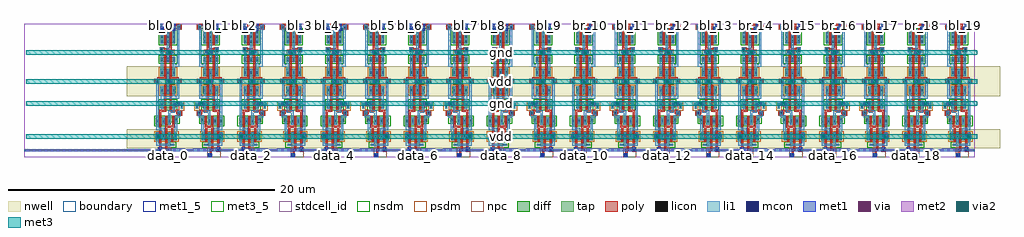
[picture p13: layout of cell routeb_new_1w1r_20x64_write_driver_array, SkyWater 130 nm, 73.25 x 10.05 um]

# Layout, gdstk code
from math import pi, radians
import gdstk
lib = gdstk.Library(unit=1e-6, precision=1e-09)
def R(c, l, rs):  # rectangles x0, y0, x1, y1
    for r in rs: c.add(gdstk.rectangle(r[:2], r[2:], *l))
def A(c, l, x, y, w, h, nx, ny, dx, dy):  # array of equal rectangles
    R(c, l, [(x+i*dx, y+j*dy, x+i*dx+w, y+j*dy+h) for i in range(nx) for j in range(ny)])
nwell = (64, 20)
diff = (65, 20)
tap = (65, 44)
poly = (66, 20)
licon = (66, 44)
li1 = (67, 20)
mcon = (67, 44)
met1_5 = (68, 5)
met1 = (68, 20)
via = (68, 44)
met2 = (69, 20)
via2 = (69, 44)
met3_5 = (70, 5)
met3 = (70, 20)
stdcell_id = (81, 4)
nsdm = (93, 44)
psdm = (94, 20)
npc = (95, 20)
boundary = (235, 4)

sky130_fd_bd_sram__openr = lib.new_cell('sky130_fd_bd_sram__openram_write_driver')
R(sky130_fd_bd_sram__openr, nwell, [(-1.88,0.69,4.4,2.12), (-1.88,4.6,4.4,6.83)])
R(sky130_fd_bd_sram__openr, diff, [(0.305,1.31,1.88,1.86), (0.305,2.46,1.435,2.65), (0.305,2.65,1.955,3.01), (0.645,3.68,1.795,4.23), (0.645,4.78,1.78,5.33), (0.645,6.095,1.775,6.645), (0.645,7.175,1.775,7.535), (0.645,8.565,1.775,9.565)])
R(sky130_fd_bd_sram__openr, tap, [(1.245,0.87,1.705,1.04), (2.155,3.64,2.325,4.1), (1.125,5.62,1.605,5.79), (1.145,7.805,1.605,7.975)])
R(sky130_fd_bd_sram__openr, poly, [(1.115,0.02,1.425,0.32), (1.115,0.32,1.275,0.5), (0.505,0.42,0.775,0.74), (1.015,0.5,1.275,0.65), (1.015,0.65,1.165,2.23), (0.505,0.74,0.725,0.75), (0.575,0.75,0.725,3.45), (1.455,1.18,1.605,2.23), (1.015,2.23,1.665,2.38), (1.015,2.38,1.165,3.14), (1.515,2.38,1.665,3.14), (1.875,3.18,2.245,3.3), (1.825,3.3,2.245,3.45), (0.575,3.45,1.065,3.6), (1.355,3.45,1.995,3.6), (0.915,3.6,1.065,5.46), (1.355,3.6,1.505,5.46), (0.205,5.6,0.54,5.87), (1.885,5.6,2.215,5.72), (1.88,5.72,2.215,5.87), (0.39,5.87,1.065,6.02), (1.355,5.87,2.03,6.02), (0.915,6.02,1.065,7.665), (1.355,6.02,1.505,7.665), (0.605,7.925,0.935,8.055), (0.605,8.055,1.505,8.205), (1.355,8.205,1.505,9.695), (0.915,8.435,1.065,9.905), (1.895,9.645,2.225,9.905), (0.915,9.905,2.225,9.915), (0.915,9.915,2.045,10.055)])
A(sky130_fd_bd_sram__openr, licon, 0.345, 1.5, 0.17, 0.17, 4, 1, 0.44, 0)
A(sky130_fd_bd_sram__openr, licon, 0.345, 2.65, 0.17, 0.17, 3, 1, 0.44, 0)
A(sky130_fd_bd_sram__openr, licon, 0.685, 4.97, 0.17, 0.17, 3, 2, 0.44, 1.315)
A(sky130_fd_bd_sram__openr, licon, 0.685, 7.275, 0.17, 0.17, 3, 2, 0.44, 1.365)
A(sky130_fd_bd_sram__openr, licon, 0.685, 8.98, 0.17, 0.17, 3, 2, 0.44, 0.34)
R(sky130_fd_bd_sram__openr, licon, [(1.175,0.1,1.345,0.27), (0.555,0.5,0.725,0.67), (1.395,0.87,1.565,1.04), (1.725,2.745,1.895,2.915), (1.995,3.23,2.165,3.4), (2.155,3.78,2.325,3.95), (0.685,3.87,0.855,4.04), (1.565,3.87,1.735,4.04), (1.295,5.62,1.465,5.79), (0.285,5.65,0.455,5.82), (1.965,5.65,2.135,5.82), (1.295,7.805,1.465,7.975), (0.685,7.985,0.855,8.155), (1.975,9.695,2.145,9.865)])
R(sky130_fd_bd_sram__openr, li1, [(1.095,0.1,1.425,0.27), (0.47,0.5,0.805,0.67), (1.225,0.84,1.395,0.87), (0.345,0.87,1.645,1.04), (0.345,1.04,0.515,1.88), (1.225,1.04,1.395,1.88), (0.785,1.29,0.955,2.05), (1.665,1.29,1.835,1.95), (1.665,1.95,1.895,2.12), (0.345,2.05,0.955,2.22), (1.725,2.12,1.895,2.89), (0.345,2.22,0.515,5.57), (0.785,2.44,0.955,3.03), (1.225,2.44,1.395,3.4), (1.725,2.89,1.955,2.99), (1.725,2.99,2.105,3.11), (1.725,3.11,2.165,3.16), (1.935,3.16,2.165,3.49), (1.225,3.375,1.735,3.545), (1.565,3.4,1.735,3.95), (0.685,3.65,0.855,4.42), (2.155,3.7,2.325,3.95), (1.565,3.95,2.355,4.12), (1.565,4.12,1.735,4.25), (0.685,4.42,2.075,4.59), (0.685,4.59,0.855,5.35), (1.565,4.59,1.735,5.35), (1.905,4.59,2.075,5.57), (1.125,4.76,1.295,5.62), (0.285,5.57,0.515,5.9), (1.905,5.57,2.135,5.9), (1.125,5.62,1.545,5.79), (1.125,5.79,1.295,6.665), (0.685,6.08,0.855,7.9), (1.565,6.08,1.735,6.825), (1.565,6.825,2.075,6.995), (1.565,6.995,1.735,7.565), (1.905,6.995,2.075,9.615), (1.125,7.165,1.295,7.805), (1.125,7.805,1.545,7.975), (0.585,7.9,0.855,8.235), (1.125,7.975,1.295,9.635), (0.685,8.545,0.855,9.735), (1.565,8.545,1.735,9.735), (1.905,9.615,2.145,9.945)])
R(sky130_fd_bd_sram__openr, mcon, [(1.175,0.1,1.345,0.27), (0.555,0.5,0.725,0.67), (0.345,1.5,0.515,1.67), (1.8,3.95,1.97,4.12), (1.125,5.62,1.295,5.79), (1.125,7.805,1.295,7.975), (0.685,9.565,0.855,9.735), (1.565,9.565,1.735,9.735)])
R(sky130_fd_bd_sram__openr, met1_5, [(1.115,0.02,1.415,0.3), (0.495,0.47,2.5,0.64), (0.285,1.47,0.715,1.7), (1.67,3.945,2.1,4.15), (1.065,5.59,1.495,5.82), (1.065,7.805,1.605,7.975), (0.63,9.795,0.78,10.055), (1.64,9.795,1.79,10.055)])
R(sky130_fd_bd_sram__openr, met1, [(1.115,0.02,1.415,0.3), (1.115,0.02,1.415,0.3), (0.495,0.47,2.5,0.64), (0.495,0.47,2.5,0.64), (0.495,0.64,0.785,0.78), (0.285,1.47,0.715,1.7), (0.285,1.47,0.715,1.7), (1.735,3.92,2.1,3.945), (1.67,3.945,2.1,4.15), (1.67,3.945,2.1,4.15), (1.065,5.59,1.495,5.82), (1.065,5.59,1.495,5.82), (1.065,7.775,1.495,7.805), (1.065,7.805,1.605,7.975), (1.065,7.805,1.605,7.975), (1.065,7.975,1.495,8.005), (0.625,9.505,0.91,9.795), (1.51,9.505,1.795,9.795), (0.63,9.795,0.78,10.055), (0.63,9.795,0.78,10.055), (1.64,9.795,1.79,10.055), (1.64,9.795,1.79,10.055)])
R(sky130_fd_bd_sram__openr, stdcell_id, [(0,0,2.5,10.055)])
R(sky130_fd_bd_sram__openr, nsdm, [(1.12,0.745,1.83,1.165), (0.18,2.335,1.56,2.525), (0.18,2.525,2.08,3.135), (0.52,3.555,1.92,4.355), (1,5.495,1.73,5.915), (0.52,7.05,1.9,7.66), (0.52,8.44,1.9,9.69)])
R(sky130_fd_bd_sram__openr, psdm, [(0.18,1.185,2.005,1.985), (2.03,3.515,2.45,4.225), (0.52,4.655,1.905,5.455), (0.52,5.97,1.9,6.77), (1.02,7.68,1.73,8.1)])
R(sky130_fd_bd_sram__openr, npc, [(0.455,0,1.445,0.77), (1.895,3.13,2.265,3.5), (0.185,5.55,0.555,5.92), (1.865,5.55,2.235,5.92), (0.585,7.885,0.955,8.255), (1.875,9.595,2.245,9.965)])
R(sky130_fd_bd_sram__openr, boundary, [(0,0,2.5,10.055)])
sky130_fd_bd_sram__openr.add(gdstk.Label('DIN', (1.265,0.06), layer=68, texttype=16))
sky130_fd_bd_sram__openr.add(gdstk.Label('VDD', (0.54,1.585), layer=68, texttype=16))
sky130_fd_bd_sram__openr.add(gdstk.Label('BL', (0.7,9.905), layer=68, texttype=16))
sky130_fd_bd_sram__openr.add(gdstk.Label('BR', (1.7,9.865), layer=68, texttype=16))
sky130_fd_bd_sram__openr.add(gdstk.Label('EN', (0.53,0.59), layer=68, texttype=16))
sky130_fd_bd_sram__openr.add(gdstk.Label('GND', (1.965,4.135), layer=68, texttype=16))
sky130_fd_bd_sram__openr.add(gdstk.Label('GND', (1.1,7.885), layer=68, texttype=16))
sky130_fd_bd_sram__openr.add(gdstk.Label('VDD', (1.1,5.7), layer=68, texttype=16))
sky130_fd_bd_sram__openr.add(gdstk.Label('din', (1.265,0.16), layer=68, texttype=5))
sky130_fd_bd_sram__openr.add(gdstk.Label('bl', (0.705,9.925), layer=68, texttype=5))
sky130_fd_bd_sram__openr.add(gdstk.Label('br', (1.715,9.925), layer=68, texttype=5))
sky130_fd_bd_sram__openr.add(gdstk.Label('en', (1.498,0.555), layer=68, texttype=5))
sky130_fd_bd_sram__openr.add(gdstk.Label('vdd', (0.5,1.585), layer=68, texttype=5))
sky130_fd_bd_sram__openr.add(gdstk.Label('vdd', (1.28,5.705), layer=68, texttype=5))
sky130_fd_bd_sram__openr.add(gdstk.Label('gnd', (1.885,4.048), layer=68, texttype=5))
sky130_fd_bd_sram__openr.add(gdstk.Label('gnd', (1.335,7.89), layer=68, texttype=5))

routeb_new_1w1r_20x64_co = lib.new_cell('routeb_new_1w1r_20x64_contact_18')
R(routeb_new_1w1r_20x64_co, met1, [(0,0.03,0.32,0.29)])
R(routeb_new_1w1r_20x64_co, via, [(0.085,0.085,0.235,0.235)])
R(routeb_new_1w1r_20x64_co, met2, [(0.03,0,0.29,0.32)])
R(routeb_new_1w1r_20x64_co, stdcell_id, [(0,0,0.32,0.32)])
R(routeb_new_1w1r_20x64_co, boundary, [(0,0,0.32,0.32)])

c_routeb_new_1w1r_20x64_co = lib.new_cell('routeb_new_1w1r_20x64_contact_21')
R(c_routeb_new_1w1r_20x64_co, met2, [(0.025,0,0.305,0.37)])
R(c_routeb_new_1w1r_20x64_co, via2, [(0.065,0.085,0.265,0.285)])
R(c_routeb_new_1w1r_20x64_co, met3, [(0,0.02,0.33,0.35)])
R(c_routeb_new_1w1r_20x64_co, stdcell_id, [(0,0,0.33,0.37)])
R(c_routeb_new_1w1r_20x64_co, boundary, [(0,0,0.33,0.37)])

routeb_new_1w1r_20x64_wr = lib.new_cell('routeb_new_1w1r_20x64_write_driver_array')
R(routeb_new_1w1r_20x64_wr, met1_5, [(10.71,0.02,11.01,0.3), (13.8,0.02,14.1,0.3), (16.95,0.02,17.25,0.3), (20.04,0.02,20.34,0.3), (23.19,0.02,23.49,0.3), (26.28,0.02,26.58,0.3), (29.43,0.02,29.73,0.3), (32.52,0.02,32.82,0.3), (35.67,0.02,35.97,0.3), (38.76,0.02,39.06,0.3), (41.91,0.02,42.21,0.3), (45,0.02,45.3,0.3), (48.15,0.02,48.45,0.3), (51.24,0.02,51.54,0.3), (54.39,0.02,54.69,0.3), (57.48,0.02,57.78,0.3), (60.63,0.02,60.93,0.3), (63.72,0.02,64.02,0.3), (66.87,0.02,67.17,0.3), (69.96,0.02,70.26,0.3), (0,0.47,71.375,0.61), (10.225,9.795,10.375,10.055), (11.235,9.795,11.385,10.055), (13.425,9.795,13.575,10.055), (14.435,9.795,14.585,10.055), (16.465,9.795,16.615,10.055), (17.475,9.795,17.625,10.055), (19.665,9.795,19.815,10.055), (20.675,9.795,20.825,10.055), (22.705,9.795,22.855,10.055), (23.715,9.795,23.865,10.055), (25.905,9.795,26.055,10.055), (26.915,9.795,27.065,10.055), (28.945,9.795,29.095,10.055), (29.955,9.795,30.105,10.055), (32.145,9.795,32.295,10.055), (33.155,9.795,33.305,10.055), (35.185,9.795,35.335,10.055), (36.195,9.795,36.345,10.055), (38.385,9.795,38.535,10.055), (39.395,9.795,39.545,10.055), (41.425,9.795,41.575,10.055), (42.435,9.795,42.585,10.055), (44.625,9.795,44.775,10.055), (45.635,9.795,45.785,10.055), (47.665,9.795,47.815,10.055), (48.675,9.795,48.825,10.055), (50.865,9.795,51.015,10.055), (51.875,9.795,52.025,10.055), (53.905,9.795,54.055,10.055), (54.915,9.795,55.065,10.055), (57.105,9.795,57.255,10.055), (58.115,9.795,58.265,10.055), (60.145,9.795,60.295,10.055), (61.155,9.795,61.305,10.055), (63.345,9.795,63.495,10.055), (64.355,9.795,64.505,10.055), (66.385,9.795,66.535,10.055), (67.395,9.795,67.545,10.055), (69.585,9.795,69.735,10.055), (70.595,9.795,70.745,10.055)])
R(routeb_new_1w1r_20x64_wr, met1, [(10.71,0.02,11.01,0.3), (13.8,0.02,14.1,0.3), (16.95,0.02,17.25,0.3), (20.04,0.02,20.34,0.3), (23.19,0.02,23.49,0.3), (26.28,0.02,26.58,0.3), (29.43,0.02,29.73,0.3), (32.52,0.02,32.82,0.3), (35.67,0.02,35.97,0.3), (38.76,0.02,39.06,0.3), (41.91,0.02,42.21,0.3), (45,0.02,45.3,0.3), (48.15,0.02,48.45,0.3), (51.24,0.02,51.54,0.3), (54.39,0.02,54.69,0.3), (57.48,0.02,57.78,0.3), (60.63,0.02,60.93,0.3), (63.72,0.02,64.02,0.3), (66.87,0.02,67.17,0.3), (69.96,0.02,70.26,0.3), (0,0.47,71.375,0.61), (9.935,1.455,10.255,1.715), (14.555,1.455,14.875,1.715), (16.175,1.455,16.495,1.715), (20.795,1.455,21.115,1.715), (22.415,1.455,22.735,1.715), (27.035,1.455,27.355,1.715), (28.655,1.455,28.975,1.715), (33.275,1.455,33.595,1.715), (34.895,1.455,35.215,1.715), (39.515,1.455,39.835,1.715), (41.135,1.455,41.455,1.715), (45.755,1.455,46.075,1.715), (47.375,1.455,47.695,1.715), (51.995,1.455,52.315,1.715), (53.615,1.455,53.935,1.715), (58.235,1.455,58.555,1.715), (59.855,1.455,60.175,1.715), (64.475,1.455,64.795,1.715), (66.095,1.455,66.415,1.715), (70.715,1.455,71.035,1.715), (11.32,3.92,11.64,4.18), (13.17,3.92,13.49,4.18), (17.56,3.92,17.88,4.18), (19.41,3.92,19.73,4.18), (23.8,3.92,24.12,4.18), (25.65,3.92,25.97,4.18), (30.04,3.92,30.36,4.18), (31.89,3.92,32.21,4.18), (36.28,3.92,36.6,4.18), (38.13,3.92,38.45,4.18), (42.52,3.92,42.84,4.18), (44.37,3.92,44.69,4.18), (48.76,3.92,49.08,4.18), (50.61,3.92,50.93,4.18), (55,3.92,55.32,4.18), (56.85,3.92,57.17,4.18), (61.24,3.92,61.56,4.18), (63.09,3.92,63.41,4.18), (67.48,3.92,67.8,4.18), (69.33,3.92,69.65,4.18), (10.715,5.575,11.035,5.835), (13.775,5.575,14.095,5.835), (16.955,5.575,17.275,5.835), (20.015,5.575,20.335,5.835), (23.195,5.575,23.515,5.835), (26.255,5.575,26.575,5.835), (29.435,5.575,29.755,5.835), (32.495,5.575,32.815,5.835), (35.675,5.575,35.995,5.835), (38.735,5.575,39.055,5.835), (41.915,5.575,42.235,5.835), (44.975,5.575,45.295,5.835), (48.155,5.575,48.475,5.835), (51.215,5.575,51.535,5.835), (54.395,5.575,54.715,5.835), (57.455,5.575,57.775,5.835), (60.635,5.575,60.955,5.835), (63.695,5.575,64.015,5.835), (66.875,5.575,67.195,5.835), (69.935,5.575,70.255,5.835), (10.77,7.76,11.09,8.02), (13.72,7.76,14.04,8.02), (17.01,7.76,17.33,8.02), (19.96,7.76,20.28,8.02), (23.25,7.76,23.57,8.02), (26.2,7.76,26.52,8.02), (29.49,7.76,29.81,8.02), (32.44,7.76,32.76,8.02), (35.73,7.76,36.05,8.02), (38.68,7.76,39,8.02), (41.97,7.76,42.29,8.02), (44.92,7.76,45.24,8.02), (48.21,7.76,48.53,8.02), (51.16,7.76,51.48,8.02), (54.45,7.76,54.77,8.02), (57.4,7.76,57.72,8.02), (60.69,7.76,61.01,8.02), (63.64,7.76,63.96,8.02), (66.93,7.76,67.25,8.02), (69.88,7.76,70.2,8.02), (10.225,9.795,10.375,10.055), (11.235,9.795,11.385,10.055), (13.425,9.795,13.575,10.055), (14.435,9.795,14.585,10.055), (16.465,9.795,16.615,10.055), (17.475,9.795,17.625,10.055), (19.665,9.795,19.815,10.055), (20.675,9.795,20.825,10.055), (22.705,9.795,22.855,10.055), (23.715,9.795,23.865,10.055), (25.905,9.795,26.055,10.055), (26.915,9.795,27.065,10.055), (28.945,9.795,29.095,10.055), (29.955,9.795,30.105,10.055), (32.145,9.795,32.295,10.055), (33.155,9.795,33.305,10.055), (35.185,9.795,35.335,10.055), (36.195,9.795,36.345,10.055), (38.385,9.795,38.535,10.055), (39.395,9.795,39.545,10.055), (41.425,9.795,41.575,10.055), (42.435,9.795,42.585,10.055), (44.625,9.795,44.775,10.055), (45.635,9.795,45.785,10.055), (47.665,9.795,47.815,10.055), (48.675,9.795,48.825,10.055), (50.865,9.795,51.015,10.055), (51.875,9.795,52.025,10.055), (53.905,9.795,54.055,10.055), (54.915,9.795,55.065,10.055), (57.105,9.795,57.255,10.055), (58.115,9.795,58.265,10.055), (60.145,9.795,60.295,10.055), (61.155,9.795,61.305,10.055), (63.345,9.795,63.495,10.055), (64.355,9.795,64.505,10.055), (66.385,9.795,66.535,10.055), (67.395,9.795,67.545,10.055), (69.585,9.795,69.735,10.055), (70.595,9.795,70.745,10.055)])
R(routeb_new_1w1r_20x64_wr, met2, [(9.955,1.46,10.235,1.705), (14.575,1.46,14.855,1.705), (16.195,1.46,16.475,1.705), (20.815,1.46,21.095,1.705), (22.435,1.46,22.715,1.705), (27.055,1.46,27.335,1.705), (28.675,1.46,28.955,1.705), (33.295,1.46,33.575,1.705), (34.915,1.46,35.195,1.705), (39.535,1.46,39.815,1.705), (41.155,1.46,41.435,1.705), (45.775,1.46,46.055,1.705), (47.395,1.46,47.675,1.705), (52.015,1.46,52.295,1.705), (53.635,1.46,53.915,1.705), (58.255,1.46,58.535,1.705), (59.875,1.46,60.155,1.705), (64.495,1.46,64.775,1.705), (66.115,1.46,66.395,1.705), (70.735,1.46,71.015,1.705), (11.34,3.925,11.62,4.17), (13.19,3.925,13.47,4.17), (17.58,3.925,17.86,4.17), (19.43,3.925,19.71,4.17), (23.82,3.925,24.1,4.17), (25.67,3.925,25.95,4.17), (30.06,3.925,30.34,4.17), (31.91,3.925,32.19,4.17), (36.3,3.925,36.58,4.17), (38.15,3.925,38.43,4.17), (42.54,3.925,42.82,4.17), (44.39,3.925,44.67,4.17), (48.78,3.925,49.06,4.17), (50.63,3.925,50.91,4.17), (55.02,3.925,55.3,4.17), (56.87,3.925,57.15,4.17), (61.26,3.925,61.54,4.17), (63.11,3.925,63.39,4.17), (67.5,3.925,67.78,4.17), (69.35,3.925,69.63,4.17), (10.735,5.58,11.015,5.825), (13.795,5.58,14.075,5.825), (16.975,5.58,17.255,5.825), (20.035,5.58,20.315,5.825), (23.215,5.58,23.495,5.825), (26.275,5.58,26.555,5.825), (29.455,5.58,29.735,5.825), (32.515,5.58,32.795,5.825), (35.695,5.58,35.975,5.825), (38.755,5.58,39.035,5.825), (41.935,5.58,42.215,5.825), (44.995,5.58,45.275,5.825), (48.175,5.58,48.455,5.825), (51.235,5.58,51.515,5.825), (54.415,5.58,54.695,5.825), (57.475,5.58,57.755,5.825), (60.655,5.58,60.935,5.825), (63.715,5.58,63.995,5.825), (66.895,5.58,67.175,5.825), (69.955,5.58,70.235,5.825), (10.79,7.77,11.07,8.015), (13.74,7.77,14.02,8.015), (17.03,7.77,17.31,8.015), (19.98,7.77,20.26,8.015), (23.27,7.77,23.55,8.015), (26.22,7.77,26.5,8.015), (29.51,7.77,29.79,8.015), (32.46,7.77,32.74,8.015), (35.75,7.77,36.03,8.015), (38.7,7.77,38.98,8.015), (41.99,7.77,42.27,8.015), (44.94,7.77,45.22,8.015), (48.23,7.77,48.51,8.015), (51.18,7.77,51.46,8.015), (54.47,7.77,54.75,8.015), (57.42,7.77,57.7,8.015), (60.71,7.77,60.99,8.015), (63.66,7.77,63.94,8.015), (66.95,7.77,67.23,8.015), (69.9,7.77,70.18,8.015)])
R(routeb_new_1w1r_20x64_wr, met3_5, [(0.165,1.42,71.54,1.75), (0.165,3.88,71.54,4.21), (0.165,5.54,71.54,5.87), (0.165,7.725,71.54,8.055)])
R(routeb_new_1w1r_20x64_wr, met3, [(0.165,1.42,71.54,1.75), (0.165,3.88,71.54,4.21), (0.165,5.54,71.54,5.87), (0.165,7.725,71.54,8.055)])
R(routeb_new_1w1r_20x64_wr, stdcell_id, [(0,0,71.375,10.055)])
R(routeb_new_1w1r_20x64_wr, boundary, [(0,0,71.375,10.055)])
routeb_new_1w1r_20x64_wr.add(gdstk.Reference(sky130_fd_bd_sram__openr, (9.595,0)))
routeb_new_1w1r_20x64_wr.add(gdstk.Reference(sky130_fd_bd_sram__openr, (15.215,0), rotation=pi, x_reflection=True))
routeb_new_1w1r_20x64_wr.add(gdstk.Reference(sky130_fd_bd_sram__openr, (15.835,0)))
routeb_new_1w1r_20x64_wr.add(gdstk.Reference(sky130_fd_bd_sram__openr, (21.455,0), rotation=pi, x_reflection=True))
routeb_new_1w1r_20x64_wr.add(gdstk.Reference(sky130_fd_bd_sram__openr, (22.075,0)))
routeb_new_1w1r_20x64_wr.add(gdstk.Reference(sky130_fd_bd_sram__openr, (27.695,0), rotation=pi, x_reflection=True))
routeb_new_1w1r_20x64_wr.add(gdstk.Reference(sky130_fd_bd_sram__openr, (28.315,0)))
routeb_new_1w1r_20x64_wr.add(gdstk.Reference(sky130_fd_bd_sram__openr, (33.935,0), rotation=pi, x_reflection=True))
routeb_new_1w1r_20x64_wr.add(gdstk.Reference(sky130_fd_bd_sram__openr, (34.555,0)))
routeb_new_1w1r_20x64_wr.add(gdstk.Reference(sky130_fd_bd_sram__openr, (40.175,0), rotation=pi, x_reflection=True))
routeb_new_1w1r_20x64_wr.add(gdstk.Reference(sky130_fd_bd_sram__openr, (40.795,0)))
routeb_new_1w1r_20x64_wr.add(gdstk.Reference(sky130_fd_bd_sram__openr, (46.415,0), rotation=pi, x_reflection=True))
routeb_new_1w1r_20x64_wr.add(gdstk.Reference(sky130_fd_bd_sram__openr, (47.035,0)))
routeb_new_1w1r_20x64_wr.add(gdstk.Reference(sky130_fd_bd_sram__openr, (52.655,0), rotation=pi, x_reflection=True))
routeb_new_1w1r_20x64_wr.add(gdstk.Reference(sky130_fd_bd_sram__openr, (53.275,0)))
routeb_new_1w1r_20x64_wr.add(gdstk.Reference(sky130_fd_bd_sram__openr, (58.895,0), rotation=pi, x_reflection=True))
routeb_new_1w1r_20x64_wr.add(gdstk.Reference(sky130_fd_bd_sram__openr, (59.515,0)))
routeb_new_1w1r_20x64_wr.add(gdstk.Reference(sky130_fd_bd_sram__openr, (65.135,0), rotation=pi, x_reflection=True))
routeb_new_1w1r_20x64_wr.add(gdstk.Reference(sky130_fd_bd_sram__openr, (65.755,0)))
routeb_new_1w1r_20x64_wr.add(gdstk.Reference(sky130_fd_bd_sram__openr, (71.375,0), rotation=pi, x_reflection=True))
routeb_new_1w1r_20x64_wr.add(gdstk.Reference(routeb_new_1w1r_20x64_co, (9.935,1.425)))
routeb_new_1w1r_20x64_wr.add(gdstk.Reference(c_routeb_new_1w1r_20x64_co, (9.93,1.4)))
routeb_new_1w1r_20x64_wr.add(gdstk.Reference(routeb_new_1w1r_20x64_co, (14.555,1.425)))
routeb_new_1w1r_20x64_wr.add(gdstk.Reference(c_routeb_new_1w1r_20x64_co, (14.55,1.4)))
routeb_new_1w1r_20x64_wr.add(gdstk.Reference(routeb_new_1w1r_20x64_co, (16.175,1.425)))
routeb_new_1w1r_20x64_wr.add(gdstk.Reference(c_routeb_new_1w1r_20x64_co, (16.17,1.4)))
routeb_new_1w1r_20x64_wr.add(gdstk.Reference(routeb_new_1w1r_20x64_co, (20.795,1.425)))
routeb_new_1w1r_20x64_wr.add(gdstk.Reference(c_routeb_new_1w1r_20x64_co, (20.79,1.4)))
routeb_new_1w1r_20x64_wr.add(gdstk.Reference(routeb_new_1w1r_20x64_co, (22.415,1.425)))
routeb_new_1w1r_20x64_wr.add(gdstk.Reference(c_routeb_new_1w1r_20x64_co, (22.41,1.4)))
routeb_new_1w1r_20x64_wr.add(gdstk.Reference(routeb_new_1w1r_20x64_co, (27.035,1.425)))
routeb_new_1w1r_20x64_wr.add(gdstk.Reference(c_routeb_new_1w1r_20x64_co, (27.03,1.4)))
routeb_new_1w1r_20x64_wr.add(gdstk.Reference(routeb_new_1w1r_20x64_co, (28.655,1.425)))
routeb_new_1w1r_20x64_wr.add(gdstk.Reference(c_routeb_new_1w1r_20x64_co, (28.65,1.4)))
routeb_new_1w1r_20x64_wr.add(gdstk.Reference(routeb_new_1w1r_20x64_co, (33.275,1.425)))
routeb_new_1w1r_20x64_wr.add(gdstk.Reference(c_routeb_new_1w1r_20x64_co, (33.27,1.4)))
routeb_new_1w1r_20x64_wr.add(gdstk.Reference(routeb_new_1w1r_20x64_co, (34.895,1.425)))
routeb_new_1w1r_20x64_wr.add(gdstk.Reference(c_routeb_new_1w1r_20x64_co, (34.89,1.4)))
routeb_new_1w1r_20x64_wr.add(gdstk.Reference(routeb_new_1w1r_20x64_co, (39.515,1.425)))
routeb_new_1w1r_20x64_wr.add(gdstk.Reference(c_routeb_new_1w1r_20x64_co, (39.51,1.4)))
routeb_new_1w1r_20x64_wr.add(gdstk.Reference(routeb_new_1w1r_20x64_co, (41.135,1.425)))
routeb_new_1w1r_20x64_wr.add(gdstk.Reference(c_routeb_new_1w1r_20x64_co, (41.13,1.4)))
routeb_new_1w1r_20x64_wr.add(gdstk.Reference(routeb_new_1w1r_20x64_co, (45.755,1.425)))
routeb_new_1w1r_20x64_wr.add(gdstk.Reference(c_routeb_new_1w1r_20x64_co, (45.75,1.4)))
routeb_new_1w1r_20x64_wr.add(gdstk.Reference(routeb_new_1w1r_20x64_co, (47.375,1.425)))
routeb_new_1w1r_20x64_wr.add(gdstk.Reference(c_routeb_new_1w1r_20x64_co, (47.37,1.4)))
routeb_new_1w1r_20x64_wr.add(gdstk.Reference(routeb_new_1w1r_20x64_co, (51.995,1.425)))
routeb_new_1w1r_20x64_wr.add(gdstk.Reference(c_routeb_new_1w1r_20x64_co, (51.99,1.4)))
routeb_new_1w1r_20x64_wr.add(gdstk.Reference(routeb_new_1w1r_20x64_co, (53.615,1.425)))
routeb_new_1w1r_20x64_wr.add(gdstk.Reference(c_routeb_new_1w1r_20x64_co, (53.61,1.4)))
routeb_new_1w1r_20x64_wr.add(gdstk.Reference(routeb_new_1w1r_20x64_co, (58.235,1.425)))
routeb_new_1w1r_20x64_wr.add(gdstk.Reference(c_routeb_new_1w1r_20x64_co, (58.23,1.4)))
routeb_new_1w1r_20x64_wr.add(gdstk.Reference(routeb_new_1w1r_20x64_co, (59.855,1.425)))
routeb_new_1w1r_20x64_wr.add(gdstk.Reference(c_routeb_new_1w1r_20x64_co, (59.85,1.4)))
routeb_new_1w1r_20x64_wr.add(gdstk.Reference(routeb_new_1w1r_20x64_co, (64.475,1.425)))
routeb_new_1w1r_20x64_wr.add(gdstk.Reference(c_routeb_new_1w1r_20x64_co, (64.47,1.4)))
routeb_new_1w1r_20x64_wr.add(gdstk.Reference(routeb_new_1w1r_20x64_co, (66.095,1.425)))
routeb_new_1w1r_20x64_wr.add(gdstk.Reference(c_routeb_new_1w1r_20x64_co, (66.09,1.4)))
routeb_new_1w1r_20x64_wr.add(gdstk.Reference(routeb_new_1w1r_20x64_co, (70.715,1.425)))
routeb_new_1w1r_20x64_wr.add(gdstk.Reference(c_routeb_new_1w1r_20x64_co, (70.71,1.4)))
routeb_new_1w1r_20x64_wr.add(gdstk.Reference(routeb_new_1w1r_20x64_co, (10.715,5.545)))
routeb_new_1w1r_20x64_wr.add(gdstk.Reference(c_routeb_new_1w1r_20x64_co, (10.71,5.52)))
routeb_new_1w1r_20x64_wr.add(gdstk.Reference(routeb_new_1w1r_20x64_co, (13.775,5.545)))
routeb_new_1w1r_20x64_wr.add(gdstk.Reference(c_routeb_new_1w1r_20x64_co, (13.77,5.52)))
routeb_new_1w1r_20x64_wr.add(gdstk.Reference(routeb_new_1w1r_20x64_co, (16.955,5.545)))
routeb_new_1w1r_20x64_wr.add(gdstk.Reference(c_routeb_new_1w1r_20x64_co, (16.95,5.52)))
routeb_new_1w1r_20x64_wr.add(gdstk.Reference(routeb_new_1w1r_20x64_co, (20.015,5.545)))
routeb_new_1w1r_20x64_wr.add(gdstk.Reference(c_routeb_new_1w1r_20x64_co, (20.01,5.52)))
routeb_new_1w1r_20x64_wr.add(gdstk.Reference(routeb_new_1w1r_20x64_co, (23.195,5.545)))
routeb_new_1w1r_20x64_wr.add(gdstk.Reference(c_routeb_new_1w1r_20x64_co, (23.19,5.52)))
routeb_new_1w1r_20x64_wr.add(gdstk.Reference(routeb_new_1w1r_20x64_co, (26.255,5.545)))
routeb_new_1w1r_20x64_wr.add(gdstk.Reference(c_routeb_new_1w1r_20x64_co, (26.25,5.52)))
routeb_new_1w1r_20x64_wr.add(gdstk.Reference(routeb_new_1w1r_20x64_co, (29.435,5.545)))
routeb_new_1w1r_20x64_wr.add(gdstk.Reference(c_routeb_new_1w1r_20x64_co, (29.43,5.52)))
routeb_new_1w1r_20x64_wr.add(gdstk.Reference(routeb_new_1w1r_20x64_co, (32.495,5.545)))
routeb_new_1w1r_20x64_wr.add(gdstk.Reference(c_routeb_new_1w1r_20x64_co, (32.49,5.52)))
routeb_new_1w1r_20x64_wr.add(gdstk.Reference(routeb_new_1w1r_20x64_co, (35.675,5.545)))
routeb_new_1w1r_20x64_wr.add(gdstk.Reference(c_routeb_new_1w1r_20x64_co, (35.67,5.52)))
routeb_new_1w1r_20x64_wr.add(gdstk.Reference(routeb_new_1w1r_20x64_co, (38.735,5.545)))
routeb_new_1w1r_20x64_wr.add(gdstk.Reference(c_routeb_new_1w1r_20x64_co, (38.73,5.52)))
routeb_new_1w1r_20x64_wr.add(gdstk.Reference(routeb_new_1w1r_20x64_co, (41.915,5.545)))
routeb_new_1w1r_20x64_wr.add(gdstk.Reference(c_routeb_new_1w1r_20x64_co, (41.91,5.52)))
routeb_new_1w1r_20x64_wr.add(gdstk.Reference(routeb_new_1w1r_20x64_co, (44.975,5.545)))
routeb_new_1w1r_20x64_wr.add(gdstk.Reference(c_routeb_new_1w1r_20x64_co, (44.97,5.52)))
routeb_new_1w1r_20x64_wr.add(gdstk.Reference(routeb_new_1w1r_20x64_co, (48.155,5.545)))
routeb_new_1w1r_20x64_wr.add(gdstk.Reference(c_routeb_new_1w1r_20x64_co, (48.15,5.52)))
routeb_new_1w1r_20x64_wr.add(gdstk.Reference(routeb_new_1w1r_20x64_co, (51.215,5.545)))
routeb_new_1w1r_20x64_wr.add(gdstk.Reference(c_routeb_new_1w1r_20x64_co, (51.21,5.52)))
routeb_new_1w1r_20x64_wr.add(gdstk.Reference(routeb_new_1w1r_20x64_co, (54.395,5.545)))
routeb_new_1w1r_20x64_wr.add(gdstk.Reference(c_routeb_new_1w1r_20x64_co, (54.39,5.52)))
routeb_new_1w1r_20x64_wr.add(gdstk.Reference(routeb_new_1w1r_20x64_co, (57.455,5.545)))
routeb_new_1w1r_20x64_wr.add(gdstk.Reference(c_routeb_new_1w1r_20x64_co, (57.45,5.52)))
routeb_new_1w1r_20x64_wr.add(gdstk.Reference(routeb_new_1w1r_20x64_co, (60.635,5.545)))
routeb_new_1w1r_20x64_wr.add(gdstk.Reference(c_routeb_new_1w1r_20x64_co, (60.63,5.52)))
routeb_new_1w1r_20x64_wr.add(gdstk.Reference(routeb_new_1w1r_20x64_co, (63.695,5.545)))
routeb_new_1w1r_20x64_wr.add(gdstk.Reference(c_routeb_new_1w1r_20x64_co, (63.69,5.52)))
routeb_new_1w1r_20x64_wr.add(gdstk.Reference(routeb_new_1w1r_20x64_co, (66.875,5.545)))
routeb_new_1w1r_20x64_wr.add(gdstk.Reference(c_routeb_new_1w1r_20x64_co, (66.87,5.52)))
routeb_new_1w1r_20x64_wr.add(gdstk.Reference(routeb_new_1w1r_20x64_co, (69.935,5.545)))
routeb_new_1w1r_20x64_wr.add(gdstk.Reference(c_routeb_new_1w1r_20x64_co, (69.93,5.52)))
routeb_new_1w1r_20x64_wr.add(gdstk.Reference(routeb_new_1w1r_20x64_co, (11.32,3.89)))
routeb_new_1w1r_20x64_wr.add(gdstk.Reference(c_routeb_new_1w1r_20x64_co, (11.315,3.86)))
routeb_new_1w1r_20x64_wr.add(gdstk.Reference(routeb_new_1w1r_20x64_co, (13.17,3.89)))
routeb_new_1w1r_20x64_wr.add(gdstk.Reference(c_routeb_new_1w1r_20x64_co, (13.165,3.86)))
routeb_new_1w1r_20x64_wr.add(gdstk.Reference(routeb_new_1w1r_20x64_co, (17.56,3.89)))
routeb_new_1w1r_20x64_wr.add(gdstk.Reference(c_routeb_new_1w1r_20x64_co, (17.555,3.86)))
routeb_new_1w1r_20x64_wr.add(gdstk.Reference(routeb_new_1w1r_20x64_co, (19.41,3.89)))
routeb_new_1w1r_20x64_wr.add(gdstk.Reference(c_routeb_new_1w1r_20x64_co, (19.405,3.86)))
routeb_new_1w1r_20x64_wr.add(gdstk.Reference(routeb_new_1w1r_20x64_co, (23.8,3.89)))
routeb_new_1w1r_20x64_wr.add(gdstk.Reference(c_routeb_new_1w1r_20x64_co, (23.795,3.86)))
routeb_new_1w1r_20x64_wr.add(gdstk.Reference(routeb_new_1w1r_20x64_co, (25.65,3.89)))
routeb_new_1w1r_20x64_wr.add(gdstk.Reference(c_routeb_new_1w1r_20x64_co, (25.645,3.86)))
routeb_new_1w1r_20x64_wr.add(gdstk.Reference(routeb_new_1w1r_20x64_co, (30.04,3.89)))
routeb_new_1w1r_20x64_wr.add(gdstk.Reference(c_routeb_new_1w1r_20x64_co, (30.035,3.86)))
routeb_new_1w1r_20x64_wr.add(gdstk.Reference(routeb_new_1w1r_20x64_co, (31.89,3.89)))
routeb_new_1w1r_20x64_wr.add(gdstk.Reference(c_routeb_new_1w1r_20x64_co, (31.885,3.86)))
routeb_new_1w1r_20x64_wr.add(gdstk.Reference(routeb_new_1w1r_20x64_co, (36.28,3.89)))
routeb_new_1w1r_20x64_wr.add(gdstk.Reference(c_routeb_new_1w1r_20x64_co, (36.275,3.86)))
routeb_new_1w1r_20x64_wr.add(gdstk.Reference(routeb_new_1w1r_20x64_co, (38.13,3.89)))
routeb_new_1w1r_20x64_wr.add(gdstk.Reference(c_routeb_new_1w1r_20x64_co, (38.125,3.86)))
routeb_new_1w1r_20x64_wr.add(gdstk.Reference(routeb_new_1w1r_20x64_co, (42.52,3.89)))
routeb_new_1w1r_20x64_wr.add(gdstk.Reference(c_routeb_new_1w1r_20x64_co, (42.515,3.86)))
routeb_new_1w1r_20x64_wr.add(gdstk.Reference(routeb_new_1w1r_20x64_co, (44.37,3.89)))
routeb_new_1w1r_20x64_wr.add(gdstk.Reference(c_routeb_new_1w1r_20x64_co, (44.365,3.86)))
routeb_new_1w1r_20x64_wr.add(gdstk.Reference(routeb_new_1w1r_20x64_co, (48.76,3.89)))
routeb_new_1w1r_20x64_wr.add(gdstk.Reference(c_routeb_new_1w1r_20x64_co, (48.755,3.86)))
routeb_new_1w1r_20x64_wr.add(gdstk.Reference(routeb_new_1w1r_20x64_co, (50.61,3.89)))
routeb_new_1w1r_20x64_wr.add(gdstk.Reference(c_routeb_new_1w1r_20x64_co, (50.605,3.86)))
routeb_new_1w1r_20x64_wr.add(gdstk.Reference(routeb_new_1w1r_20x64_co, (55,3.89)))
routeb_new_1w1r_20x64_wr.add(gdstk.Reference(c_routeb_new_1w1r_20x64_co, (54.995,3.86)))
routeb_new_1w1r_20x64_wr.add(gdstk.Reference(routeb_new_1w1r_20x64_co, (56.85,3.89)))
routeb_new_1w1r_20x64_wr.add(gdstk.Reference(c_routeb_new_1w1r_20x64_co, (56.845,3.86)))
routeb_new_1w1r_20x64_wr.add(gdstk.Reference(routeb_new_1w1r_20x64_co, (61.24,3.89)))
routeb_new_1w1r_20x64_wr.add(gdstk.Reference(c_routeb_new_1w1r_20x64_co, (61.235,3.86)))
routeb_new_1w1r_20x64_wr.add(gdstk.Reference(routeb_new_1w1r_20x64_co, (63.09,3.89)))
routeb_new_1w1r_20x64_wr.add(gdstk.Reference(c_routeb_new_1w1r_20x64_co, (63.085,3.86)))
routeb_new_1w1r_20x64_wr.add(gdstk.Reference(routeb_new_1w1r_20x64_co, (67.48,3.89)))
routeb_new_1w1r_20x64_wr.add(gdstk.Reference(c_routeb_new_1w1r_20x64_co, (67.475,3.86)))
routeb_new_1w1r_20x64_wr.add(gdstk.Reference(routeb_new_1w1r_20x64_co, (69.33,3.89)))
routeb_new_1w1r_20x64_wr.add(gdstk.Reference(c_routeb_new_1w1r_20x64_co, (69.325,3.86)))
routeb_new_1w1r_20x64_wr.add(gdstk.Reference(routeb_new_1w1r_20x64_co, (10.77,7.73)))
routeb_new_1w1r_20x64_wr.add(gdstk.Reference(c_routeb_new_1w1r_20x64_co, (10.765,7.705)))
routeb_new_1w1r_20x64_wr.add(gdstk.Reference(routeb_new_1w1r_20x64_co, (13.72,7.73)))
routeb_new_1w1r_20x64_wr.add(gdstk.Reference(c_routeb_new_1w1r_20x64_co, (13.715,7.705)))
routeb_new_1w1r_20x64_wr.add(gdstk.Reference(routeb_new_1w1r_20x64_co, (17.01,7.73)))
routeb_new_1w1r_20x64_wr.add(gdstk.Reference(c_routeb_new_1w1r_20x64_co, (17.005,7.705)))
routeb_new_1w1r_20x64_wr.add(gdstk.Reference(routeb_new_1w1r_20x64_co, (19.96,7.73)))
routeb_new_1w1r_20x64_wr.add(gdstk.Reference(c_routeb_new_1w1r_20x64_co, (19.955,7.705)))
routeb_new_1w1r_20x64_wr.add(gdstk.Reference(routeb_new_1w1r_20x64_co, (23.25,7.73)))
routeb_new_1w1r_20x64_wr.add(gdstk.Reference(c_routeb_new_1w1r_20x64_co, (23.245,7.705)))
routeb_new_1w1r_20x64_wr.add(gdstk.Reference(routeb_new_1w1r_20x64_co, (26.2,7.73)))
routeb_new_1w1r_20x64_wr.add(gdstk.Reference(c_routeb_new_1w1r_20x64_co, (26.195,7.705)))
routeb_new_1w1r_20x64_wr.add(gdstk.Reference(routeb_new_1w1r_20x64_co, (29.49,7.73)))
routeb_new_1w1r_20x64_wr.add(gdstk.Reference(c_routeb_new_1w1r_20x64_co, (29.485,7.705)))
routeb_new_1w1r_20x64_wr.add(gdstk.Reference(routeb_new_1w1r_20x64_co, (32.44,7.73)))
routeb_new_1w1r_20x64_wr.add(gdstk.Reference(c_routeb_new_1w1r_20x64_co, (32.435,7.705)))
routeb_new_1w1r_20x64_wr.add(gdstk.Reference(routeb_new_1w1r_20x64_co, (35.73,7.73)))
routeb_new_1w1r_20x64_wr.add(gdstk.Reference(c_routeb_new_1w1r_20x64_co, (35.725,7.705)))
routeb_new_1w1r_20x64_wr.add(gdstk.Reference(routeb_new_1w1r_20x64_co, (38.68,7.73)))
routeb_new_1w1r_20x64_wr.add(gdstk.Reference(c_routeb_new_1w1r_20x64_co, (38.675,7.705)))
routeb_new_1w1r_20x64_wr.add(gdstk.Reference(routeb_new_1w1r_20x64_co, (41.97,7.73)))
routeb_new_1w1r_20x64_wr.add(gdstk.Reference(c_routeb_new_1w1r_20x64_co, (41.965,7.705)))
routeb_new_1w1r_20x64_wr.add(gdstk.Reference(routeb_new_1w1r_20x64_co, (44.92,7.73)))
routeb_new_1w1r_20x64_wr.add(gdstk.Reference(c_routeb_new_1w1r_20x64_co, (44.915,7.705)))
routeb_new_1w1r_20x64_wr.add(gdstk.Reference(routeb_new_1w1r_20x64_co, (48.21,7.73)))
routeb_new_1w1r_20x64_wr.add(gdstk.Reference(c_routeb_new_1w1r_20x64_co, (48.205,7.705)))
routeb_new_1w1r_20x64_wr.add(gdstk.Reference(routeb_new_1w1r_20x64_co, (51.16,7.73)))
routeb_new_1w1r_20x64_wr.add(gdstk.Reference(c_routeb_new_1w1r_20x64_co, (51.155,7.705)))
routeb_new_1w1r_20x64_wr.add(gdstk.Reference(routeb_new_1w1r_20x64_co, (54.45,7.73)))
routeb_new_1w1r_20x64_wr.add(gdstk.Reference(c_routeb_new_1w1r_20x64_co, (54.445,7.705)))
routeb_new_1w1r_20x64_wr.add(gdstk.Reference(routeb_new_1w1r_20x64_co, (57.4,7.73)))
routeb_new_1w1r_20x64_wr.add(gdstk.Reference(c_routeb_new_1w1r_20x64_co, (57.395,7.705)))
routeb_new_1w1r_20x64_wr.add(gdstk.Reference(routeb_new_1w1r_20x64_co, (60.69,7.73)))
routeb_new_1w1r_20x64_wr.add(gdstk.Reference(c_routeb_new_1w1r_20x64_co, (60.685,7.705)))
routeb_new_1w1r_20x64_wr.add(gdstk.Reference(routeb_new_1w1r_20x64_co, (63.64,7.73)))
routeb_new_1w1r_20x64_wr.add(gdstk.Reference(c_routeb_new_1w1r_20x64_co, (63.635,7.705)))
routeb_new_1w1r_20x64_wr.add(gdstk.Reference(routeb_new_1w1r_20x64_co, (66.93,7.73)))
routeb_new_1w1r_20x64_wr.add(gdstk.Reference(c_routeb_new_1w1r_20x64_co, (66.925,7.705)))
routeb_new_1w1r_20x64_wr.add(gdstk.Reference(routeb_new_1w1r_20x64_co, (69.88,7.73)))
routeb_new_1w1r_20x64_wr.add(gdstk.Reference(c_routeb_new_1w1r_20x64_co, (69.875,7.705)))
routeb_new_1w1r_20x64_wr.add(gdstk.Label('data_0', (10.86,0.16), layer=68, texttype=5))
routeb_new_1w1r_20x64_wr.add(gdstk.Label('bl_0', (10.3,9.925), layer=68, texttype=5))
routeb_new_1w1r_20x64_wr.add(gdstk.Label('br_0', (11.31,9.925), layer=68, texttype=5))
routeb_new_1w1r_20x64_wr.add(gdstk.Label('data_1', (13.95,0.16), layer=68, texttype=5))
routeb_new_1w1r_20x64_wr.add(gdstk.Label('bl_1', (14.51,9.925), layer=68, texttype=5))
routeb_new_1w1r_20x64_wr.add(gdstk.Label('br_1', (13.5,9.925), layer=68, texttype=5))
routeb_new_1w1r_20x64_wr.add(gdstk.Label('data_2', (17.1,0.16), layer=68, texttype=5))
routeb_new_1w1r_20x64_wr.add(gdstk.Label('bl_2', (16.54,9.925), layer=68, texttype=5))
routeb_new_1w1r_20x64_wr.add(gdstk.Label('br_2', (17.55,9.925), layer=68, texttype=5))
routeb_new_1w1r_20x64_wr.add(gdstk.Label('data_3', (20.19,0.16), layer=68, texttype=5))
routeb_new_1w1r_20x64_wr.add(gdstk.Label('bl_3', (20.75,9.925), layer=68, texttype=5))
routeb_new_1w1r_20x64_wr.add(gdstk.Label('br_3', (19.74,9.925), layer=68, texttype=5))
routeb_new_1w1r_20x64_wr.add(gdstk.Label('data_4', (23.34,0.16), layer=68, texttype=5))
routeb_new_1w1r_20x64_wr.add(gdstk.Label('bl_4', (22.78,9.925), layer=68, texttype=5))
routeb_new_1w1r_20x64_wr.add(gdstk.Label('br_4', (23.79,9.925), layer=68, texttype=5))
routeb_new_1w1r_20x64_wr.add(gdstk.Label('data_5', (26.43,0.16), layer=68, texttype=5))
routeb_new_1w1r_20x64_wr.add(gdstk.Label('bl_5', (26.99,9.925), layer=68, texttype=5))
routeb_new_1w1r_20x64_wr.add(gdstk.Label('br_5', (25.98,9.925), layer=68, texttype=5))
routeb_new_1w1r_20x64_wr.add(gdstk.Label('data_6', (29.58,0.16), layer=68, texttype=5))
routeb_new_1w1r_20x64_wr.add(gdstk.Label('bl_6', (29.02,9.925), layer=68, texttype=5))
routeb_new_1w1r_20x64_wr.add(gdstk.Label('br_6', (30.03,9.925), layer=68, texttype=5))
routeb_new_1w1r_20x64_wr.add(gdstk.Label('data_7', (32.67,0.16), layer=68, texttype=5))
routeb_new_1w1r_20x64_wr.add(gdstk.Label('bl_7', (33.23,9.925), layer=68, texttype=5))
routeb_new_1w1r_20x64_wr.add(gdstk.Label('br_7', (32.22,9.925), layer=68, texttype=5))
routeb_new_1w1r_20x64_wr.add(gdstk.Label('data_8', (35.82,0.16), layer=68, texttype=5))
routeb_new_1w1r_20x64_wr.add(gdstk.Label('bl_8', (35.26,9.925), layer=68, texttype=5))
routeb_new_1w1r_20x64_wr.add(gdstk.Label('br_8', (36.27,9.925), layer=68, texttype=5))
routeb_new_1w1r_20x64_wr.add(gdstk.Label('data_9', (38.91,0.16), layer=68, texttype=5))
routeb_new_1w1r_20x64_wr.add(gdstk.Label('bl_9', (39.47,9.925), layer=68, texttype=5))
routeb_new_1w1r_20x64_wr.add(gdstk.Label('br_9', (38.46,9.925), layer=68, texttype=5))
routeb_new_1w1r_20x64_wr.add(gdstk.Label('data_10', (42.06,0.16), layer=68, texttype=5))
routeb_new_1w1r_20x64_wr.add(gdstk.Label('bl_10', (41.5,9.925), layer=68, texttype=5))
routeb_new_1w1r_20x64_wr.add(gdstk.Label('br_10', (42.51,9.925), layer=68, texttype=5))
routeb_new_1w1r_20x64_wr.add(gdstk.Label('data_11', (45.15,0.16), layer=68, texttype=5))
routeb_new_1w1r_20x64_wr.add(gdstk.Label('bl_11', (45.71,9.925), layer=68, texttype=5))
routeb_new_1w1r_20x64_wr.add(gdstk.Label('br_11', (44.7,9.925), layer=68, texttype=5))
routeb_new_1w1r_20x64_wr.add(gdstk.Label('data_12', (48.3,0.16), layer=68, texttype=5))
routeb_new_1w1r_20x64_wr.add(gdstk.Label('bl_12', (47.74,9.925), layer=68, texttype=5))
routeb_new_1w1r_20x64_wr.add(gdstk.Label('br_12', (48.75,9.925), layer=68, texttype=5))
routeb_new_1w1r_20x64_wr.add(gdstk.Label('data_13', (51.39,0.16), layer=68, texttype=5))
routeb_new_1w1r_20x64_wr.add(gdstk.Label('bl_13', (51.95,9.925), layer=68, texttype=5))
routeb_new_1w1r_20x64_wr.add(gdstk.Label('br_13', (50.94,9.925), layer=68, texttype=5))
routeb_new_1w1r_20x64_wr.add(gdstk.Label('data_14', (54.54,0.16), layer=68, texttype=5))
routeb_new_1w1r_20x64_wr.add(gdstk.Label('bl_14', (53.98,9.925), layer=68, texttype=5))
routeb_new_1w1r_20x64_wr.add(gdstk.Label('br_14', (54.99,9.925), layer=68, texttype=5))
routeb_new_1w1r_20x64_wr.add(gdstk.Label('data_15', (57.63,0.16), layer=68, texttype=5))
routeb_new_1w1r_20x64_wr.add(gdstk.Label('bl_15', (58.19,9.925), layer=68, texttype=5))
routeb_new_1w1r_20x64_wr.add(gdstk.Label('br_15', (57.18,9.925), layer=68, texttype=5))
routeb_new_1w1r_20x64_wr.add(gdstk.Label('data_16', (60.78,0.16), layer=68, texttype=5))
routeb_new_1w1r_20x64_wr.add(gdstk.Label('bl_16', (60.22,9.925), layer=68, texttype=5))
routeb_new_1w1r_20x64_wr.add(gdstk.Label('br_16', (61.23,9.925), layer=68, texttype=5))
routeb_new_1w1r_20x64_wr.add(gdstk.Label('data_17', (63.87,0.16), layer=68, texttype=5))
routeb_new_1w1r_20x64_wr.add(gdstk.Label('bl_17', (64.43,9.925), layer=68, texttype=5))
routeb_new_1w1r_20x64_wr.add(gdstk.Label('br_17', (63.42,9.925), layer=68, texttype=5))
routeb_new_1w1r_20x64_wr.add(gdstk.Label('data_18', (67.02,0.16), layer=68, texttype=5))
routeb_new_1w1r_20x64_wr.add(gdstk.Label('bl_18', (66.46,9.925), layer=68, texttype=5))
routeb_new_1w1r_20x64_wr.add(gdstk.Label('br_18', (67.47,9.925), layer=68, texttype=5))
routeb_new_1w1r_20x64_wr.add(gdstk.Label('data_19', (70.11,0.16), layer=68, texttype=5))
routeb_new_1w1r_20x64_wr.add(gdstk.Label('bl_19', (70.67,9.925), layer=68, texttype=5))
routeb_new_1w1r_20x64_wr.add(gdstk.Label('br_19', (69.66,9.925), layer=68, texttype=5))
routeb_new_1w1r_20x64_wr.add(gdstk.Label('en', (35.688,0.54), layer=68, texttype=5))
routeb_new_1w1r_20x64_wr.add(gdstk.Label('vdd', (35.853,1.585), layer=70, texttype=5))
routeb_new_1w1r_20x64_wr.add(gdstk.Label('vdd', (35.853,5.705), layer=70, texttype=5))
routeb_new_1w1r_20x64_wr.add(gdstk.Label('gnd', (35.853,7.89), layer=70, texttype=5))
routeb_new_1w1r_20x64_wr.add(gdstk.Label('gnd', (35.853,4.045), layer=70, texttype=5))

lib.write_gds('routeb_new_1w1r_20x64_write_driver_array.gds')
